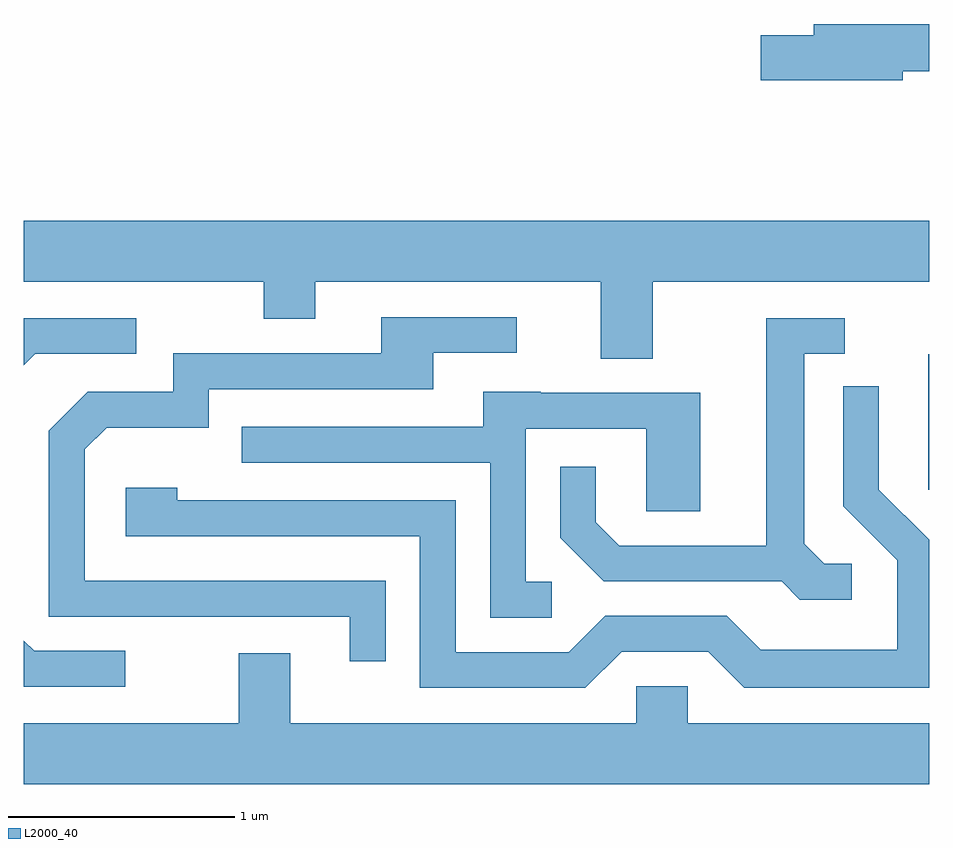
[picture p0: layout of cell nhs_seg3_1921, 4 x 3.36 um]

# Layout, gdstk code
import gdstk
lib = gdstk.Library(unit=1e-6, precision=1e-09)
def R(c, l, rs):  # rectangles x0, y0, x1, y1
    for r in rs: c.add(gdstk.rectangle(r[:2], r[2:], *l))
def P(c, l, *ps):  # polygons
    for p in ps: c.add(gdstk.Polygon(p, *l))
L2000_40 = (2000, 40)

nhs_seg3_1921 = lib.new_cell('nhs_seg3_1921')
R(nhs_seg3_1921, L2000_40, [(245.606,1151.736,245.611,1152.334)])
P(nhs_seg3_1921, L2000_40, [(245.494,1153.586),(245.611,1153.586),(245.611,1153.794),(245.101,1153.794),(245.101,1153.744),(244.866,1153.744),(244.866,1153.546),(245.494,1153.546)],
  [(244.389,1152.656),(245.611,1152.656),(245.611,1152.924),(241.611,1152.924),(241.611,1152.656),(242.671,1152.656),(242.671,1152.491),(242.899,1152.491),(242.899,1152.656),(244.161,1152.656),(244.161,1152.316),(244.389,1152.316)],
  [(243.209,1151.334),(241.879,1151.334),(241.879,1151.914),(241.977,1152.011),(242.429,1152.011),(242.429,1152.181),(243.419,1152.181),(243.419,1152.341),(243.788,1152.341),(243.788,1152.499),(243.191,1152.499),(243.191,1152.339),(242.271,1152.339),(242.271,1152.169),(241.894,1152.169),(241.721,1151.997),(241.721,1151.176),(243.051,1151.176),(243.051,1150.978),(243.209,1150.978)],
  [(245.268,1151.409),(245.147,1151.409),(245.059,1151.497),(245.059,1152.336),(245.238,1152.336),(245.238,1152.494),(244.891,1152.494),(244.891,1151.489),(244.242,1151.489),(244.139,1151.592),(244.139,1151.838),(243.981,1151.838),(243.981,1151.524),(244.174,1151.331),(244.959,1151.331),(245.039,1151.251),(245.268,1151.251)],
  [(241.662,1152.336),(242.108,1152.336),(242.108,1152.494),(241.611,1152.494),(241.611,1152.286)],
  [(244.252,1151.021),(244.634,1151.021),(244.794,1150.861),(245.611,1150.861),(245.611,1151.515),(245.389,1151.737),(245.389,1152.193),(245.231,1152.193),(245.231,1151.664),(245.471,1151.424),(245.471,1151.029),(244.867,1151.029),(244.717,1151.179),(244.179,1151.179),(244.019,1151.019),(243.519,1151.019),(243.519,1151.689),(242.289,1151.689),(242.289,1151.744),(242.061,1151.744),(242.061,1151.531),(243.361,1151.531),(243.361,1150.861),(244.092,1150.861)],
  [(243.943,1151.329),(243.829,1151.329),(243.829,1152.006),(244.361,1152.006),(244.361,1151.641),(244.599,1151.641),(244.599,1152.164),(243.895,1152.164),(243.895,1152.169),(243.641,1152.169),(243.641,1152.014),(242.573,1152.014),(242.573,1151.856),(243.671,1151.856),(243.671,1151.171),(243.943,1151.171)],
  [(242.058,1151.024),(241.657,1151.024),(241.611,1151.07),(241.611,1150.866),(242.058,1150.866)],
  [(245.611,1150.704),(244.544,1150.704),(244.544,1150.869),(244.316,1150.869),(244.316,1150.704),(242.789,1150.704),(242.789,1151.014),(242.561,1151.014),(242.561,1150.704),(241.611,1150.704),(241.611,1150.436),(245.611,1150.436)])

lib.write_gds('nhs_seg3_1921.gds')
